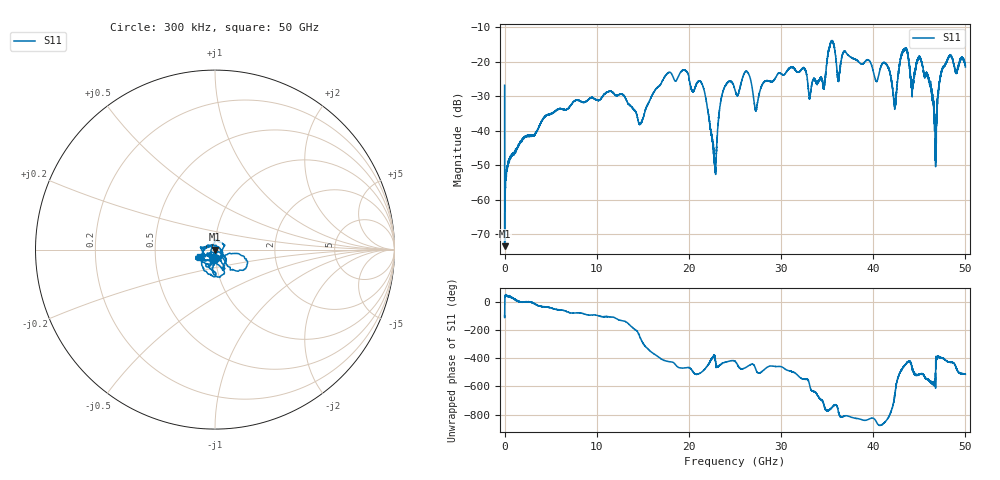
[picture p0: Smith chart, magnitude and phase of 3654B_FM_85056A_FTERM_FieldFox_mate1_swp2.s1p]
!Created with skrf (http://scikit-rf.org).
# Hz S RI R 50.0
!freq ReS11 ImS11
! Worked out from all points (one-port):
!   10001 points, 300 kHz to 50 GHz, reference 50 ohm
!   lowest |S11| = -73.5 dB at 5.3 MHz (marker M1), VSWR 1.00, Z = 50 - j0.0194 ohm
!   |S11| at or under -10 dB: start of sweep to end of sweep
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300000  -0.00586 -0.0451
5299970  -8.23e-05 -0.000194
2.552985e8  0.00197 0.00182
6.250262e9  0.0106 -0.0176
1.250022e10  -0.0214 -0.0257
1.473021e10  -0.00267 0.0122
1.875019e10  -0.0105 -0.0562
2.140517e10  -0.0353 -0.0325
2.279516e10  0.00268 -0.00183
2.372016e10  0.0114 -0.0361
2.500015e10  0.0186 -0.0342
2.632014e10  -0.0121 -0.0703
2.728514e10  -0.0112 -0.0162
3.125011e10  -0.0614 -0.0558
3.31451e10  -0.0133 0.0268
3.464509e10  0.0431 -0.00826
3.546009e10  0.1636 -0.108
3.621508e10  0.0289 -0.0471
3.750008e10  -0.0113 -0.1164
4.134005e10  -0.0577 -0.0737
4.232505e10  0.0119 0.0184
4.311504e10  -0.0623 -0.1183
4.375004e10  0.0529 -0.124
4.421503e10  -0.00995 -0.041
4.598502e10  -0.057 0.0123
4.671002e10  -0.00526 0.00672
4.770501e10  0.0599 -0.0617
5e10  -0.0754 -0.0361
